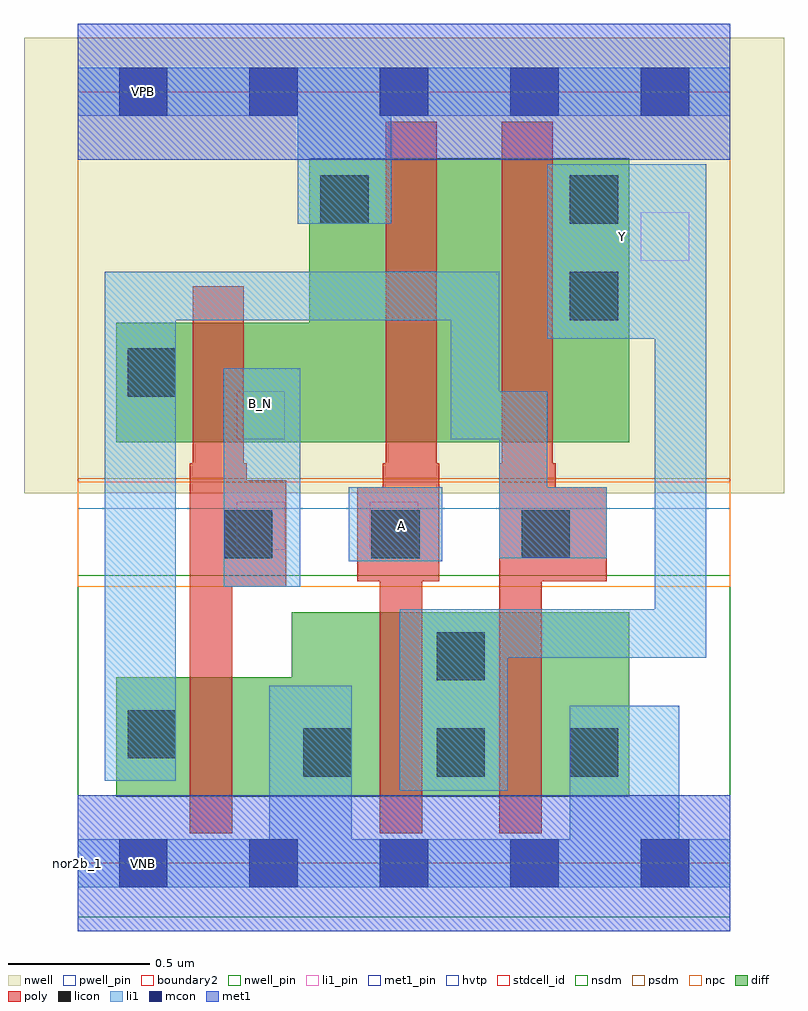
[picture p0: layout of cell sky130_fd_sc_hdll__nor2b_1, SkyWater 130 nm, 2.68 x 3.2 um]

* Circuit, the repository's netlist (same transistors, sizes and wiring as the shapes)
* Copyright 2020 The SkyWater PDK Authors
*
* Licensed under the Apache License, Version 2.0 (the "License");
* you may not use this file except in compliance with the License.
* You may obtain a copy of the License at
*
*     https://www.apache.org/licenses/LICENSE-2.0
*
* Unless required by applicable law or agreed to in writing, software
* distributed under the License is distributed on an "AS IS" BASIS,
* WITHOUT WARRANTIES OR CONDITIONS OF ANY KIND, either express or implied.
* See the License for the specific language governing permissions and
* limitations under the License.
*
* SPDX-License-Identifier: Apache-2.0

.SUBCKT sky130_fd_sc_hdll__nor2b_1 A B_N VGND VNB VPB VPWR Y
*.PININFO A:I B_N:I VGND:I VNB:I VPB:I VPWR:I Y:O
MMP0 VPWR A sndPA VPB sky130_fd_pr__pfet_01v8_hvt m=1 w=1.0U l=0.18U mult=1 sa=0.265
+ sb=0.265 sd=0.28 area=0.063 perim=1.14
MMP1 sndPA B Y VPB sky130_fd_pr__pfet_01v8_hvt m=1 w=1.0U l=0.18U mult=1 sa=0.265
+ sb=0.265 sd=0.28 area=0.063 perim=1.14
MMIP1 B B_N VPWR VPB sky130_fd_pr__pfet_01v8_hvt m=1 w=0.42U l=0.18U mult=1 sa=0.265
+ sb=0.265 sd=0.28 area=0.063 perim=1.14
MMN0 Y A VGND VNB sky130_fd_pr__nfet_01v8 m=1 w=0.65U l=0.15U mult=1 sa=0.265 sb=0.265
+ sd=0.28 area=0.063 perim=1.14
MMN1 Y B VGND VNB sky130_fd_pr__nfet_01v8 m=1 w=0.65U l=0.15U mult=1 sa=0.265 sb=0.265
+ sd=0.28 area=0.063 perim=1.14
MMIN1 B B_N VGND VNB sky130_fd_pr__nfet_01v8 m=1 w=0.42U l=0.15U mult=1 sa=0.265
+ sb=0.265 sd=0.28 area=0.063 perim=1.14
.ENDS sky130_fd_sc_hdll__nor2b_1

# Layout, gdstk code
import gdstk
lib = gdstk.Library(unit=1e-6, precision=1e-09)
def R(c, l, rs):  # rectangles x0, y0, x1, y1
    for r in rs: c.add(gdstk.rectangle(r[:2], r[2:], *l))
def A(c, l, x, y, w, h, nx, ny, dx, dy):  # array of equal rectangles
    R(c, l, [(x+i*dx, y+j*dy, x+i*dx+w, y+j*dy+h) for i in range(nx) for j in range(ny)])
def P(c, l, *ps):  # polygons
    for p in ps: c.add(gdstk.Polygon(p, *l))
nwell_pin = (64, 16)
nwell = (64, 20)
diff = (65, 20)
poly = (66, 20)
licon = (66, 44)
li1_pin = (67, 16)
li1 = (67, 20)
mcon = (67, 44)
met1_pin = (68, 16)
met1 = (68, 20)
hvtp = (78, 44)
stdcell_id = (81, 4)
nsdm = (93, 44)
psdm = (94, 20)
npc = (95, 20)
pwell_pin = (122, 16)
boundary2 = (236, 0)

sky130_fd_sc_hdll__nor2b = lib.new_cell('sky130_fd_sc_hdll__nor2b_1')
R(sky130_fd_sc_hdll__nor2b, nwell_pin, [(0.145,2.635,0.315,2.805)])
R(sky130_fd_sc_hdll__nor2b, nwell, [(-0.19,1.305,2.49,2.91)])
P(sky130_fd_sc_hdll__nor2b, diff, [(1.945,0.885),(0.755,0.885),(0.755,0.655),(0.135,0.655),(0.135,0.235),(1.945,0.235)],
  [(1.945,2.485),(0.815,2.485),(0.815,1.905),(0.135,1.905),(0.135,1.485),(1.945,1.485)])
P(sky130_fd_sc_hdll__nor2b, poly, [(0.735,1.35),(0.595,1.35),(0.595,1.41),(0.585,1.41),(0.585,2.035),(0.405,2.035),(0.405,1.41),(0.395,1.41),(0.395,0.105),(0.545,0.105),(0.545,0.975),(0.735,0.975)],
  [(1.275,1.41),(1.265,1.41),(1.265,2.615),(1.085,2.615),(1.085,1.41),(1.075,1.41),(1.075,1.325),(0.985,1.325),(0.985,0.995),(1.065,0.995),(1.065,0.105),(1.215,0.105),(1.215,0.995),(1.275,0.995)],
  [(1.865,1.325),(1.685,1.325),(1.685,1.41),(1.675,1.41),(1.675,2.615),(1.495,2.615),(1.495,1.41),(1.485,1.41),(1.485,0.105),(1.635,0.105),(1.635,0.995),(1.865,0.995)])
A(sky130_fd_sc_hdll__nor2b, licon, 0.795, 0.305, 0.17, 0.17, 3, 1, 0.47, 0)
R(sky130_fd_sc_hdll__nor2b, licon, [(0.175,0.37,0.345,0.54), (1.265,0.645,1.435,0.815), (0.515,1.075,0.685,1.245), (0.565,1.075,0.685,1.245), (1.035,1.075,1.205,1.245), (1.565,1.075,1.735,1.245), (0.175,1.645,0.345,1.815), (1.735,1.915,1.905,2.085), (0.855,2.255,1.025,2.425), (1.735,2.255,1.905,2.425)])
R(sky130_fd_sc_hdll__nor2b, li1_pin, [(0.56,1.105,0.73,1.275), (1.03,1.105,1.2,1.275), (0.56,1.495,0.73,1.665), (1.985,2.125,2.155,2.295)])
R(sky130_fd_sc_hdll__nor2b, li1, [(0.515,0.975,0.785,1.745), (0.955,1.065,1.285,1.325)])
P(sky130_fd_sc_hdll__nor2b, li1, [(2.3,0.085),(2.12,0.085),(2.12,0.555),(1.735,0.555),(1.735,0.085),(0.965,0.085),(0.965,0.625),(0.675,0.625),(0.675,0.085),(0,0.085),(0,-0.085),(2.3,-0.085)],
  [(2.3,2.805),(0,2.805),(0,2.635),(0.775,2.635),(0.775,2.255),(1.105,2.255),(1.105,2.635),(2.3,2.635)],
  [(2.215,2.465),(1.655,2.465),(1.655,1.85),(2.035,1.85),(2.035,0.895),(1.135,0.895),(1.135,0.255),(1.515,0.255),(1.515,0.725),(2.215,0.725)],
  [(1.865,1.325),(1.655,1.325),(1.655,1.665),(1.485,1.665),(1.485,2.085),(0.095,2.085),(0.095,0.29),(0.345,0.29),(0.345,1.915),(1.315,1.915),(1.315,1.495),(1.485,1.495),(1.485,1.075),(1.865,1.075)])
A(sky130_fd_sc_hdll__nor2b, mcon, 0.145, -0.085, 0.17, 0.17, 5, 2, 0.46, 2.72)
R(sky130_fd_sc_hdll__nor2b, met1_pin, [(0.145,-0.085,0.315,0.085), (0.145,2.635,0.315,2.805)])
R(sky130_fd_sc_hdll__nor2b, met1, [(0,-0.24,2.3,0.24), (0,2.48,2.3,2.96)])
R(sky130_fd_sc_hdll__nor2b, hvtp, [(0,1.25,2.3,2.72)])
R(sky130_fd_sc_hdll__nor2b, stdcell_id, [(0,0,2.3,2.72)])
R(sky130_fd_sc_hdll__nor2b, nsdm, [(0,-0.19,2.3,1.015)])
R(sky130_fd_sc_hdll__nor2b, psdm, [(0,1.355,2.3,2.91)])
R(sky130_fd_sc_hdll__nor2b, npc, [(0,0.975,2.3,1.345)])
R(sky130_fd_sc_hdll__nor2b, pwell_pin, [(0.145,-0.085,0.315,0.085)])
R(sky130_fd_sc_hdll__nor2b, boundary2, [(0,0,2.3,2.72)])
sky130_fd_sc_hdll__nor2b.add(gdstk.Label('B_N', (0.645,1.62), layer=67, texttype=5))
sky130_fd_sc_hdll__nor2b.add(gdstk.Label('Y', (1.92,2.21), layer=67, texttype=5))
sky130_fd_sc_hdll__nor2b.add(gdstk.Label('A', (1.14,1.19), layer=67, texttype=5))
sky130_fd_sc_hdll__nor2b.add(gdstk.Label('VPB', (0.23,2.72), layer=64, texttype=5))
sky130_fd_sc_hdll__nor2b.add(gdstk.Label('VNB', (0.23,0), layer=64, texttype=59))
sky130_fd_sc_hdll__nor2b.add(gdstk.Label('VGND', (0.23,0), layer=68, texttype=5))
sky130_fd_sc_hdll__nor2b.add(gdstk.Label('VPWR', (0.23,2.72), layer=68, texttype=5))
sky130_fd_sc_hdll__nor2b.add(gdstk.Label('nor2b_1', (0,0), layer=83, texttype=44))

lib.write_gds('sky130_fd_sc_hdll__nor2b_1.gds')
